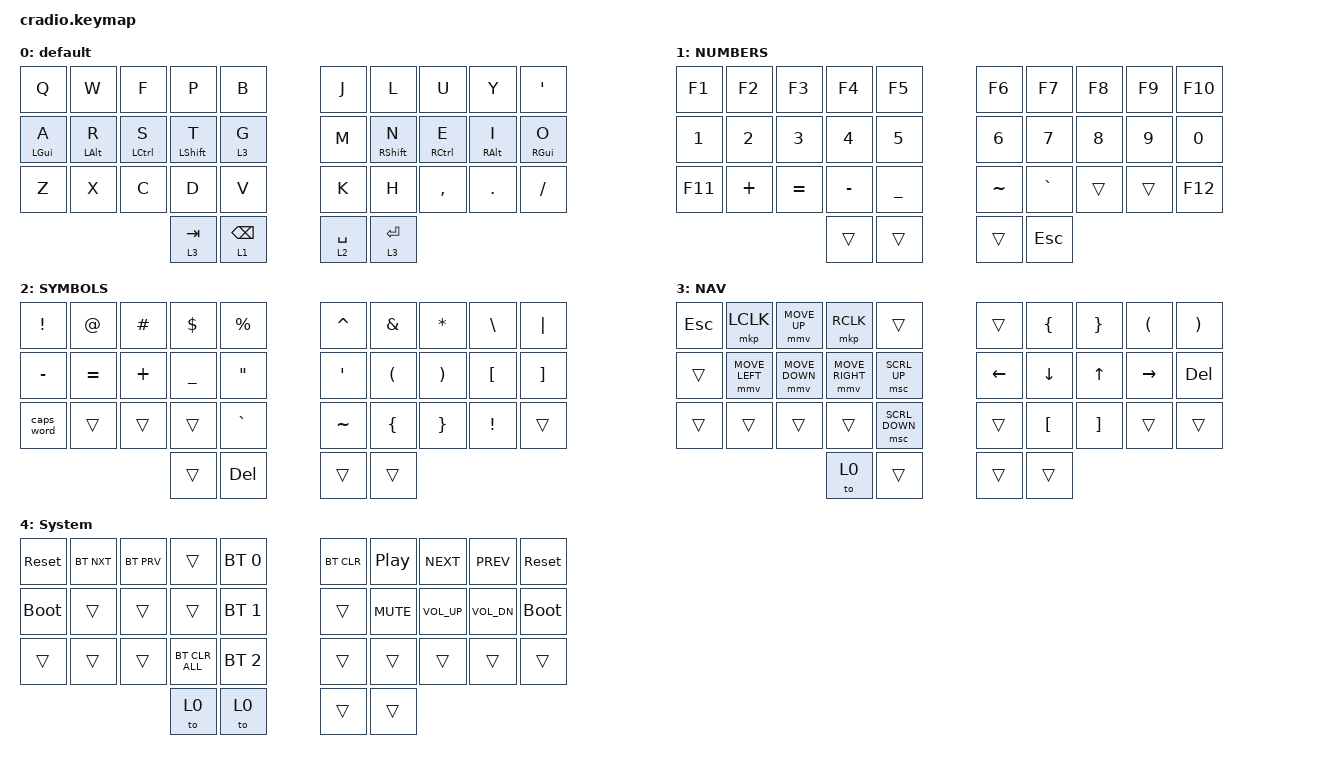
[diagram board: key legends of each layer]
/*
 * Copyright (c) 2020 The ZMK Contributors
 *
 * SPDX-License-Identifier: MIT
 */

#define ZMK_MOUSE_DEFAULT_MOVE_VAL 2500  // 600
#define ZMK_MOUSE_DEFAULT_SCRL_VAL 20    // 10

#include <behaviors.dtsi>
#include <dt-bindings/zmk/bt.h>
#include <dt-bindings/zmk/keys.h>
#include <dt-bindings/zmk/outputs.h>
#include <dt-bindings/zmk/mouse.h>

#define MAC 0
#define WIN 1
#define RIG 2
#define LEF 3
#define TRI 4
#define MOUSE 5

#define U_MS_U &mmv MOVE_UP
#define U_MS_D &mmv MOVE_DOWN
#define U_MS_L &mmv MOVE_LEFT
#define U_MS_R &mmv MOVE_RIGHT
#define U_WH_U &msc SCRL_UP
#define U_WH_D &msc SCRL_DOWN
#define U_WH_L &msc SCRL_LEFT
#define U_WH_R &msc SCRL_RIGHT


&mt {
    // flavor = "tap-preferred";

    flavor = "balanced";
    tapping_term_ms = <225>;
    quick-tap-ms = <75>;
};

&sk { quick-release; };

&lt {
    tapping-term-ms = <225>;
    flavor = "balanced";
    quick-tap-ms = <75>;
};

/ {
    combos {
        compatible = "zmk,combos";

        caps_word {
            bindings = <&caps_word>;
            key-positions = <10 19>;
        };

        combo_semicolon {
            bindings = <&kp SEMI>;
            key-positions = <22 27>;
        };

        combo_colon {
            bindings = <&kp COLON>;
            key-positions = <23 26>;
        };

        combo_esc {
            bindings = <&kp ESCAPE>;
            key-positions = <2 7>;
        };

    };

    behaviors {
        hmr: hmr {
            compatible = "zmk,behavior-hold-tap";
            label = "HMR";
            bindings = <&kp>, <&kp>;

            #binding-cells = <2>;
            tapping-term-ms = <280>;
            quick-tap-ms = <175>;
            require-prior-idle-ms = <150>;
            flavor = "balanced";
            hold-trigger-on-release;
            hold-trigger-key-positions = <0 1 2 3 4 10 11 12 13 14 20 21 22 23 24 30 31 32 33>;
        };

        hml: hml {
            compatible = "zmk,behavior-hold-tap";
            label = "HML";
            bindings = <&kp>, <&kp>;

            #binding-cells = <2>;
            tapping-term-ms = <280>;
            quick-tap-ms = <175>;
            require-prior-idle-ms = <150>;
            flavor = "balanced";
            hold-trigger-on-release;
            hold-trigger-key-positions = <5 6 7 8 9 15 16 17 18 19 25 26 27 28 29 32 33 30 31 21 22 24>;
        };
    };

    macros {
        base_death: base_death {
            compatible = "zmk,behavior-macro";
            #binding-cells = <0>;
            bindings = <&none &kp R &kp E &kp P &kp O &kp R &kp T &kp DOT &kp D &kp E &kp A &kp T &kp H &kp UNDER &kp T &kp O &kp O &kp L &kp UNDER &kp B &kp A &kp S &kp E &kp UNDER &kp D &kp E &kp A &kp T &kp H>;
            label = "BASE_DEATH";
        };
    };

    keymap {
        compatible = "zmk,keymap";

        default {
            bindings = <
&kp Q            &kp W            &kp F         &kp P              &kp B            &kp J        &kp L               &kp U         &kp Y             &kp SINGLE_QUOTE
&hml LEFT_GUI A  &hml LEFT_ALT R  &hml LCTRL S  &hml LEFT_SHIFT T  &lt 3 G          &kp M        &hmr RIGHT_SHIFT N  &hmr RCTRL E  &hmr RIGHT_ALT I  &hmr RGUI O
&kp Z            &kp X            &kp C         &kp D              &kp V            &kp K        &kp H               &kp COMMA     &kp DOT           &kp SLASH
                                                &lt 3 TAB          &lt 1 BACKSPACE  &lt 2 SPACE  &lt 3 RETURN
            >;
        };

        NUMBERS {
            bindings = <
&kp F1        &kp F2        &kp F3        &kp F4        &kp F5     &kp F6        &kp F7     &kp F8  &kp F9        &kp F10
&kp NUMBER_1  &kp NUMBER_2  &kp NUMBER_3  &kp NUMBER_4  &kp N5     &kp NUMBER_6  &kp N7     &kp N8  &kp NUMBER_9  &kp N0
&kp F11       &kp PLUS      &kp EQUAL     &kp MINUS     &kp UNDER  &kp TILDE     &kp GRAVE  &trans  &trans        &kp F12
                                          &trans        &trans     &trans        &kp ESC
            >;
        };

        SYMBOLS {
            bindings = <
&kp EXCL    &kp AT_SIGN  &kp HASH  &kp DOLLAR  &kp PERCENT        &kp CARET         &kp AMPS              &kp ASTRK              &kp BACKSLASH     &kp PIPE
&kp MINUS   &kp EQUAL    &kp PLUS  &kp UNDER   &kp DOUBLE_QUOTES  &kp SINGLE_QUOTE  &kp LEFT_PARENTHESIS  &kp RIGHT_PARENTHESIS  &kp LEFT_BRACKET  &kp RIGHT_BRACKET
&caps_word  &trans       &trans    &trans      &kp GRAVE          &kp TILDE         &kp LEFT_BRACE        &kp RIGHT_BRACE        &kp EXCL          &trans
                                   &trans      &kp DELETE         &trans            &trans
            >;
        };

        NAV {
            bindings = <
&kp ESC  &mkp LCLK  &mmv MOVE_UP       &mkp RCLK  &trans         &trans          &kp LEFT_BRACE    &kp RIGHT_BRACE    &kp LEFT_PARENTHESIS  &kp RIGHT_PARENTHESIS
&trans   &mmv MOVE_LEFT      &mmv MOVE_DOWN   &mmv MOVE_RIGHT      &msc SCRL_UP      &kp LEFT_ARROW  &kp DOWN_ARROW    &kp UP_ARROW       &kp RIGHT             &kp DELETE
&trans   &trans     &trans  &trans      &msc SCRL_DOWN &trans          &kp LEFT_BRACKET  &kp RIGHT_BRACKET  &trans                &trans
                            &to 0      &trans         &trans          &trans
            >;
        };

        System {
            bindings = <
&sys_reset   &bt BT_NXT  &bt BT_PRV  &trans          &bt BT_SEL 0  &bt BT_CLR  &kp C_PP  &kp C_NEXT  &kp C_PREV  &sys_reset
&bootloader  &trans      &trans      &trans          &bt BT_SEL 1  &trans      &kp C_MUTE  &kp C_VOL_UP &kp C_VOL_DN  &bootloader
&trans       &trans      &trans      &bt BT_CLR_ALL  &bt BT_SEL 2  &trans      &trans  &trans  &trans  &trans
                                     &to 0           &to 0         &trans      &trans
            >;
        };
    };

    conditional_layers {
        compatible = "zmk,conditional-layers";

        tri_layer {
            if-layers = <1 2>;
            then-layer = <4>;
        };
    };
};
